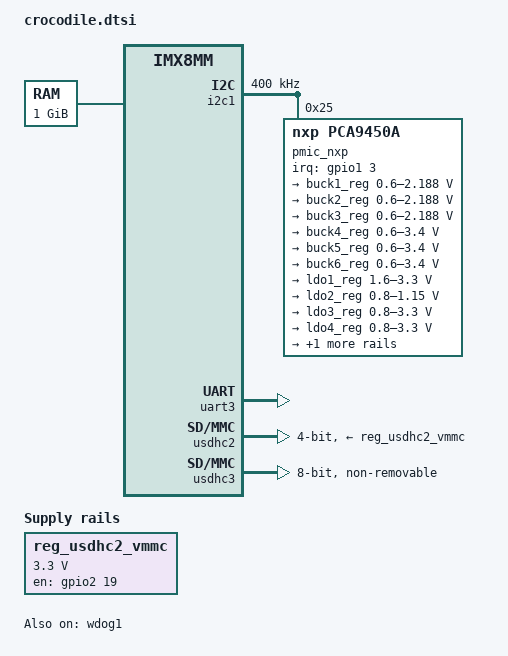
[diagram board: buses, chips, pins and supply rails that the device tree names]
// SPDX-License-Identifier: (GPL-2.0+ OR MIT)
/*
 * Copyright 2020 NXP
 * Copyright (C) 2021 Leica Geosystems AG
 */

/dts-v1/;

#include <dt-bindings/usb/pd.h>
#include "imx8mm.dtsi"
#include "crocodile-pinmap.h"

/ {
	compatible = "fsl,imx8mm";

	chosen {
		stdout-path = &uart3;
	};

	reg_usdhc2_vmmc: regulator-usdhc2 {
		compatible = "regulator-fixed";
		pinctrl-names = "default";
		pinctrl-0 = <&pinctrl_reg_usdhc2_vmmc>;
		regulator-name = "VSD_3V3";
		regulator-min-microvolt = <3300000>;
		regulator-max-microvolt = <3300000>;
		gpio = <&gpio2 19 GPIO_ACTIVE_HIGH>;
		enable-active-high;
	};


	memory@40000000 {
		device_type = "memory";
		reg = <0x0 0x40000000 0 0x40000000>;
	};

};

&A53_0 {
	cpu-supply = <&buck2_reg>;
};

&A53_1 {
	cpu-supply = <&buck2_reg>;
};

&A53_2 {
	cpu-supply = <&buck2_reg>;
};

&A53_3 {
	cpu-supply = <&buck2_reg>;
};

&ddrc {
	operating-points-v2 = <&ddrc_opp_table>;

	ddrc_opp_table: opp-table {
		compatible = "operating-points-v2";

		opp-25M {
			opp-hz = /bits/ 64 <25000000>;
		};

		opp-100M {
			opp-hz = /bits/ 64 <100000000>;
		};

		opp-750M {
			opp-hz = /bits/ 64 <750000000>;
		};
	};
};


&i2c1 {
	clock-frequency = <400000>;
	pinctrl-names = "default";
	pinctrl-0 = <&pinctrl_i2c1>;
	status = "okay";

	pmic_nxp: pca9450@25 {
		compatible = "nxp,pca9450a";
		reg = <0x25>;
		pinctrl-0 = <&pinctrl_pmic>;
		pinctrl-names = "default";
		interrupt-parent = <&gpio1>;
		interrupts = <3 IRQ_TYPE_LEVEL_LOW>;

		regulators {
			buck1_reg: BUCK1 {
				regulator-name = "BUCK1";
				regulator-min-microvolt = <600000>;
				regulator-max-microvolt = <2187500>;
				regulator-boot-on;
				regulator-always-on;
				regulator-ramp-delay = <3125>;
				nxp,dvs-run-voltage = <820000>;
				nxp,dvs-standby-voltage = <800000>;
			};

			buck2_reg: BUCK2 {
				regulator-name = "BUCK2";
				regulator-min-microvolt = <600000>;
				regulator-max-microvolt = <2187500>;
				regulator-boot-on;
				regulator-always-on;
				regulator-ramp-delay = <3125>;
			};

			buck3_reg: BUCK3 {
				regulator-name = "BUCK3";
				regulator-min-microvolt = <600000>;
				regulator-max-microvolt = <2187500>;
				regulator-boot-on;
				regulator-always-on;
			};

			buck4_reg: BUCK4 {
				regulator-name = "BUCK4";
				regulator-min-microvolt = <600000>;
				regulator-max-microvolt = <3400000>;
				regulator-boot-on;
				regulator-always-on;
			};

			buck5_reg: BUCK5 {
				regulator-name = "BUCK5";
				regulator-min-microvolt = <600000>;
				regulator-max-microvolt = <3400000>;
				regulator-boot-on;
				regulator-always-on;
			};

			buck6_reg: BUCK6 {
				regulator-name = "BUCK6";
				regulator-min-microvolt = <600000>;
				regulator-max-microvolt = <3400000>;
				regulator-boot-on;
				regulator-always-on;
			};

			ldo1_reg: LDO1 {
				regulator-name = "LDO1";
				regulator-min-microvolt = <1600000>;
				regulator-max-microvolt = <3300000>;
				regulator-boot-on;
				regulator-always-on;
			};

			ldo2_reg: LDO2 {
				regulator-name = "LDO2";
				regulator-min-microvolt = <800000>;
				regulator-max-microvolt = <1150000>;
				regulator-boot-on;
				regulator-always-on;
			};

			ldo3_reg: LDO3 {
				regulator-name = "LDO3";
				regulator-min-microvolt = <800000>;
				regulator-max-microvolt = <3300000>;
				regulator-boot-on;
				regulator-always-on;
			};

			ldo4_reg: LDO4 {
				regulator-name = "LDO4";
				regulator-min-microvolt = <800000>;
				regulator-max-microvolt = <3300000>;
				regulator-boot-on;
				regulator-always-on;
			};

			ldo5_reg: LDO5 {
				regulator-name = "LDO5";
				regulator-min-microvolt = <1800000>;
				regulator-max-microvolt = <3300000>;
			};
		};
	};

};

/* console */
&uart3 {
	pinctrl-names = "default";
	pinctrl-0 = <&pinctrl_uart3>;
	/delete-property/ dmas;
	/delete-property/ dma-names;
	status = "okay";
};

&usdhc2 { /* SD card */
	assigned-clocks = <&clk IMX8MM_CLK_USDHC2>;
	assigned-clock-rates = <200000000>;
	pinctrl-names = "default", "state_100mhz", "state_200mhz";
	pinctrl-0 = <&pinctrl_usdhc2>, <&pinctrl_usdhc2_gpio>;
	pinctrl-1 = <&pinctrl_usdhc2_100mhz>, <&pinctrl_usdhc2_gpio>;
	pinctrl-2 = <&pinctrl_usdhc2_200mhz>, <&pinctrl_usdhc2_gpio>;
	bus-width = <4>;
	vmmc-supply = <&reg_usdhc2_vmmc>;
	status = "okay";
};

&usdhc3 { /* eMMC */
	assigned-clocks = <&clk IMX8MM_CLK_USDHC3_ROOT>;
	assigned-clock-rates = <400000000>;
	pinctrl-names = "default", "state_100mhz", "state_200mhz";
	pinctrl-0 = <&pinctrl_usdhc3>;
	pinctrl-1 = <&pinctrl_usdhc3_100mhz>;
	pinctrl-2 = <&pinctrl_usdhc3_200mhz>;
	bus-width = <8>;
	non-removable;
	status = "okay";
};

&wdog1 {
	pinctrl-names = "default";
	pinctrl-0 = <&pinctrl_wdog>;
	fsl,ext-reset-output;
	status = "okay";
};


&iomuxc {
	pinctrl-names = "default";

	/*
	 * Reserved bit 30 in value for Pad Control Register is used to set
	 * SION (bit 4) in Pad Mux Register.
	 * Setting SION to "1" forces the input path to be active regardless
	 * of the value driven by the corresponding module and is required for
	 * I2C.
	 */

	pinctrl_i2c1: i2c1grp {
		fsl,pins = <
			CROCODILE_IMX8_I2C_1_SCL	0x400001c3
			CROCODILE_IMX8_I2C_1_SDA	0x400001c3
		>;
	};

	pinctrl_pmic: pmicirqgrp {
		fsl,pins = <
			CROCODILE_PMIC_NINT		0x141
		>;
	};

	pinctrl_reg_usdhc2_vmmc: regusdhc2vmmcgrp {
		fsl,pins = <
			CROCODILE_IMX8_SD2_RSTX		0x41
		>;
	};

	pinctrl_usdhc2_gpio: usdhc2grpgpiogrp {
		fsl,pins = <
			CROCODILE_IMX8_SD2_NDET		0x41
		>;
	};

	pinctrl_usdhc2: usdhc2grp {
		fsl,pins = <
			CROCODILE_IMX8_SD2_CLK		0x190
			CROCODILE_IMX8_SD2_CMD		0x1d0
			CROCODILE_IMX8_SD2_DATA0	0x1d0
			CROCODILE_IMX8_SD2_DATA1	0x1d0
			CROCODILE_IMX8_SD2_DATA2	0x1d0
			CROCODILE_IMX8_SD2_DATA3	0x1d0
			CROCODILE_SD2_VSEL		0x1d0
		>;
	};

	pinctrl_usdhc2_100mhz: usdhc2-100mhzgrp {
		fsl,pins = <
			CROCODILE_IMX8_SD2_CLK		0x194
			CROCODILE_IMX8_SD2_CMD		0x1d4
			CROCODILE_IMX8_SD2_DATA0	0x1d4
			CROCODILE_IMX8_SD2_DATA1	0x1d4
			CROCODILE_IMX8_SD2_DATA2	0x1d4
			CROCODILE_IMX8_SD2_DATA3	0x1d4
			CROCODILE_SD2_VSEL		0x1d0
		>;
	};

	pinctrl_usdhc2_200mhz: usdhc2-200mhzgrp {
		fsl,pins = <
			CROCODILE_IMX8_SD2_CLK		0x196
			CROCODILE_IMX8_SD2_CMD		0x1d6
			CROCODILE_IMX8_SD2_DATA0	0x1d6
			CROCODILE_IMX8_SD2_DATA1	0x1d6
			CROCODILE_IMX8_SD2_DATA2	0x1d6
			CROCODILE_IMX8_SD2_DATA3	0x1d6
			CROCODILE_SD2_VSEL		0x1d0
		>;
	};

	pinctrl_usdhc3: usdhc3grp {
		fsl,pins = <
			CROCODILE_SD3_CLK		0x190
			CROCODILE_SD3_CMD		0x1d0
			CROCODILE_SD3_DATA0		0x1d0
			CROCODILE_SD3_DATA1		0x1d0
			CROCODILE_SD3_DATA2		0x1d0
			CROCODILE_SD3_DATA3		0x1d0
			CROCODILE_SD3_DATA4		0x1d0
			CROCODILE_SD3_DATA5		0x1d0
			CROCODILE_SD3_DATA6		0x1d0
			CROCODILE_SD3_DATA7		0x1d0
			CROCODILE_SD3_STROBE		0x190
		>;
	};

	pinctrl_usdhc3_100mhz: usdhc3-100mhzgrp {
		fsl,pins = <
			CROCODILE_SD3_CLK		0x194
			CROCODILE_SD3_CMD		0x1d4
			CROCODILE_SD3_DATA0		0x1d4
			CROCODILE_SD3_DATA1		0x1d4
			CROCODILE_SD3_DATA2		0x1d4
			CROCODILE_SD3_DATA3		0x1d4
			CROCODILE_SD3_DATA4		0x1d4
			CROCODILE_SD3_DATA5		0x1d4
			CROCODILE_SD3_DATA6		0x1d4
			CROCODILE_SD3_DATA7		0x1d4
			CROCODILE_SD3_STROBE		0x194
		>;
	};

	pinctrl_usdhc3_200mhz: usdhc3-200mhzgrp {
		fsl,pins = <
			CROCODILE_SD3_CLK		0x196
			CROCODILE_SD3_CMD		0x1d6
			CROCODILE_SD3_DATA0		0x1d6
			CROCODILE_SD3_DATA1		0x1d6
			CROCODILE_SD3_DATA2		0x1d6
			CROCODILE_SD3_DATA3		0x1d6
			CROCODILE_SD3_DATA4		0x1d6
			CROCODILE_SD3_DATA5		0x1d6
			CROCODILE_SD3_DATA6		0x1d6
			CROCODILE_SD3_DATA7		0x1d6
			CROCODILE_SD3_STROBE		0x196
		>;
	};

	pinctrl_uart3: uart3grp {
		fsl,pins = <
			CROCODILE_IMX8_UART3_RXD	0x000
			CROCODILE_IMX8_UART3_TXD	0x140
		>;
	};

	pinctrl_wdog: wdoggrp {
		fsl,pins = <
			CROCODILE_WDOG_B                0x166
		>;
	};

};
